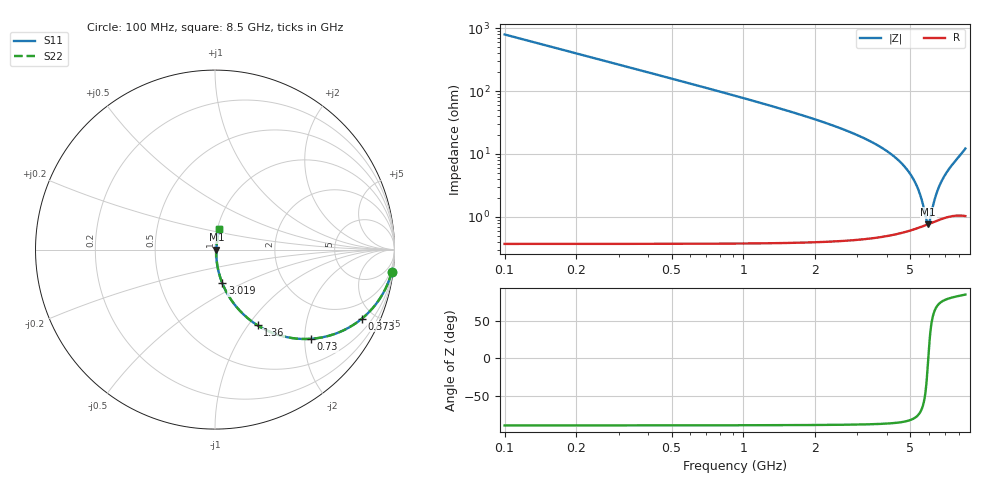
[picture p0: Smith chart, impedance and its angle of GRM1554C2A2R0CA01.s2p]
!Murata Part Number: GRM1554C2A2R0CA01
!These Parameters are Measured in Series Mode Connection
!Data Generated on Mar 30, 2021
!  o--ll--o
!Port1  Port2
!  o------o
!Operation Temp=25[degC], DC Bias Voltage=0[V]
!Freq. Start=100[MHz] Stop=9[GHz] 401[Steps]
# Hz S RI R 50
!Freq.(Hz) S11(Real) S11(Imag) S21(Real) S21(Imag) S12(Real) S12(Imag) S22(Real) S22(Imag)
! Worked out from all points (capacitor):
!   401 points, 100 MHz to 8.5 GHz, reference 50 ohm
!   read as one part in series: C = 2 pF near 142 MHz
!   lowest |Z| = 763 mohm at 5.938 GHz (marker M1)
!   series resonance near 5.943 GHz, so ESL is about 360 pH
!   S11 on the Smith chart (normalised r, x): 100 MHz: 1, -16; 373 MHz: 1.01, -4.25; 730 MHz: 1.01, -2.15; 1.36 GHz: 1.01, -1.11; 3.019 GHz: 1.01, -0.39; 8.5 GHz: 1.02, +0.24
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1e8  0.9844 -0.1237  0.0156 0.1237  0.0156 0.1237  0.9844 -0.1237
2.26e8  0.9249 -0.263  0.0751 0.263  0.0751 0.263  0.9249 -0.263
3.73e8  0.8183 -0.3847  0.1817 0.3847  0.1817 0.3847  0.8183 -0.3847
7.3e8  0.5355 -0.497  0.4645 0.497  0.4645 0.497  0.5355 -0.497
1.024e9  0.3635 -0.4785  0.6365 0.4785  0.6365 0.4785  0.3635 -0.4785
1.36e9  0.2372 -0.4219  0.7628 0.4219  0.7628 0.4219  0.2372 -0.4219
1.507e9  0.1986 -0.3951  0.8014 0.3951  0.8014 0.3951  0.1986 -0.3951
2.095e9  0.103 -0.2981  0.897 0.2981  0.897 0.2981  0.103 -0.2981
2.914e9  0.0454 -0.1983  0.9546 0.1983  0.9546 0.1983  0.0454 -0.1983
3.019e9  0.0411 -0.1879  0.9589 0.1879  0.9589 0.1879  0.0411 -0.1879
4.3e9  0.013 -0.0877  0.987 0.0877  0.987 0.0877  0.013 -0.0877
4.804e9  0.00908 -0.0575  0.9909 0.0575  0.9909 0.0575  0.00908 -0.0575
5.182e9  0.00765 -0.037  0.9924 0.037  0.9924 0.037  0.00765 -0.037
5.476e9  0.00723 -0.0221  0.9928 0.0221  0.9928 0.0221  0.00723 -0.0221
5.707e9  0.00726 -0.0109  0.9927 0.0109  0.9927 0.0109  0.00726 -0.0109
5.854e9  0.00742 -0.00408  0.9926 0.00408  0.9926 0.00408  0.00742 -0.00408
5.938e9  0.00756 -0.000237  0.9924 0.000237  0.9924 0.000237  0.00756 -0.000237
6.022e9  0.00774 0.00356  0.9923 -0.00356  0.9923 -0.00356  0.00774 0.00356
6.274e9  0.00843 0.0147  0.9916 -0.0147  0.9916 -0.0147  0.00843 0.0147
6.484e9  0.00918 0.0237  0.9908 -0.0237  0.9908 -0.0237  0.00918 0.0237
7.114e9  0.0122 0.0496  0.9878 -0.0496  0.9878 -0.0496  0.0122 0.0496
8.5e9  0.0243 0.1174  0.9757 -0.1174  0.9757 -0.1174  0.0243 0.1174
